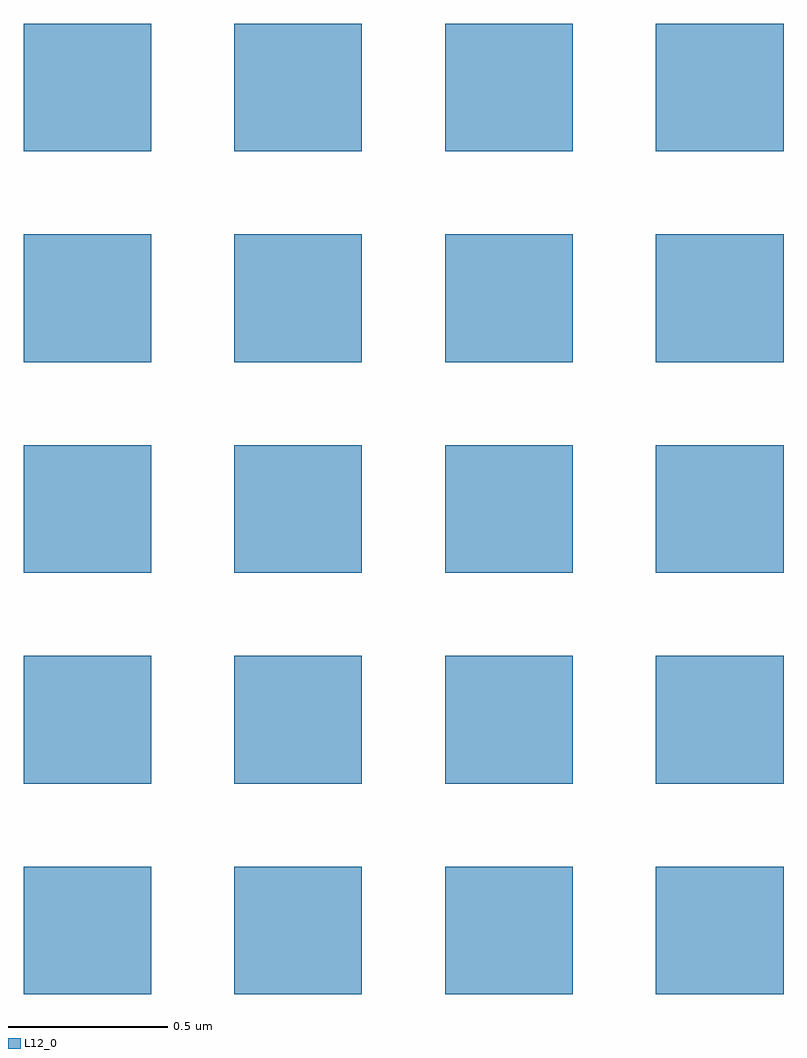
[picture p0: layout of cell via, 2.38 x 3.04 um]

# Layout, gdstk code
import gdstk
lib = gdstk.Library(unit=1e-6, precision=1e-09)
def R(c, l, rs):  # rectangles x0, y0, x1, y1
    for r in rs: c.add(gdstk.rectangle(r[:2], r[2:], *l))
def A(c, l, x, y, w, h, nx, ny, dx, dy):  # array of equal rectangles
    R(c, l, [(x+i*dx, y+j*dy, x+i*dx+w, y+j*dy+h) for i in range(nx) for j in range(ny)])
L12_0 = (12, 0)

via = lib.new_cell('via')
A(via, L12_0, 0.31, 0.48, 0.4, 0.4, 4, 5, 0.66, 0.66)

lib.write_gds('via.gds')
